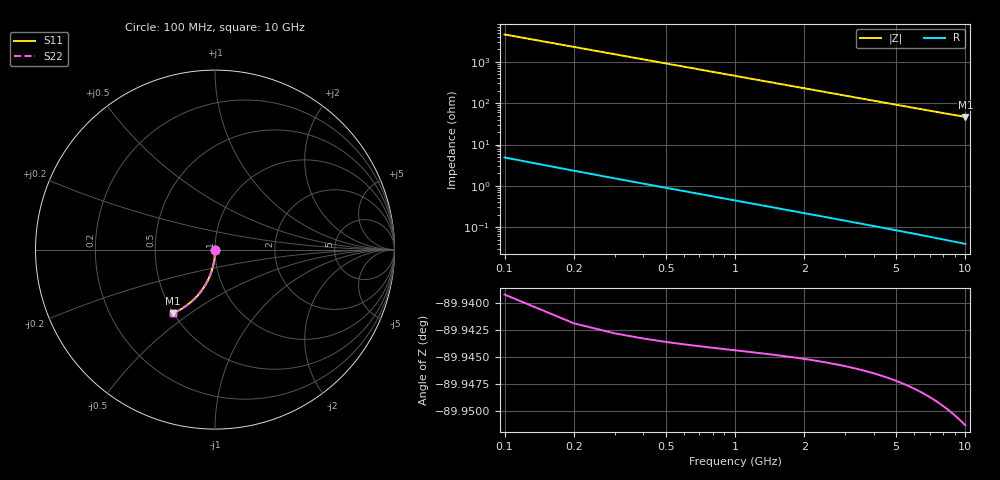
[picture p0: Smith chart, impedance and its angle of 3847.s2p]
# Hz S RI R 50.00
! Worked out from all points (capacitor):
!   100 points, 100 MHz to 10 GHz, reference 50 ohm
!   read as one part in shunt: C = 348 fF near 100 MHz
!   lowest |Z| = 46.5 ohm at 10 GHz (marker M1)
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1e8  0.000191 -0.00476  0.9997 -0.00616  0.9997 -0.00616  0.000191 -0.00476
2e8  9.94e-05 -0.00951  0.9996 -0.0123  0.9996 -0.0123  9.94e-05 -0.00951
3e8  -5.13e-05 -0.0143  0.9995 -0.0185  0.9995 -0.0185  -5.13e-05 -0.0143
4e8  -0.000261 -0.019  0.9993 -0.0246  0.9993 -0.0246  -0.000261 -0.019
5e8  -0.000529 -0.0238  0.999 -0.0308  0.999 -0.0308  -0.000529 -0.0238
6e8  -0.000856 -0.0285  0.9986 -0.0369  0.9986 -0.0369  -0.000856 -0.0285
7e8  -0.00124 -0.0333  0.9982 -0.0431  0.9982 -0.0431  -0.00124 -0.0333
8e8  -0.00168 -0.038  0.9978 -0.0492  0.9978 -0.0492  -0.00168 -0.038
9e8  -0.00219 -0.0427  0.9973 -0.0554  0.9973 -0.0554  -0.00219 -0.0427
1.1e9  -0.00336 -0.0521  0.996 -0.0676  0.996 -0.0676  -0.00336 -0.0521
1.4e9  -0.00556 -0.0662  0.9938 -0.0859  0.9938 -0.0859  -0.00556 -0.0662
1.8e9  -0.00929 -0.0848  0.9899 -0.1101  0.9899 -0.1101  -0.00929 -0.0848
2.1e9  -0.0127 -0.0986  0.9864 -0.1281  0.9864 -0.1281  -0.0127 -0.0986
2.5e9  -0.018 -0.1167  0.9809 -0.1519  0.9809 -0.1519  -0.018 -0.1167
2.9e9  -0.0241 -0.1345  0.9746 -0.1753  0.9746 -0.1753  -0.0241 -0.1345
3.4e9  -0.0329 -0.1561  0.9654 -0.2041  0.9654 -0.2041  -0.0329 -0.1561
4.2e9  -0.0496 -0.1893  0.9481 -0.2486  0.9481 -0.2486  -0.0496 -0.1893
5.1e9  -0.0717 -0.224  0.9252 -0.2962  0.9252 -0.2962  -0.0717 -0.224
5.9e9  -0.094 -0.2524  0.902 -0.3359  0.902 -0.3359  -0.094 -0.2524
6.7e9  -0.1184 -0.278  0.8765 -0.3731  0.8765 -0.3731  -0.1184 -0.278
8.4e9  -0.1755 -0.3233  0.8168 -0.443  0.8168 -0.443  -0.1755 -0.3233
1e10  -0.2331 -0.354  0.756 -0.4973  0.756 -0.4973  -0.2331 -0.354
